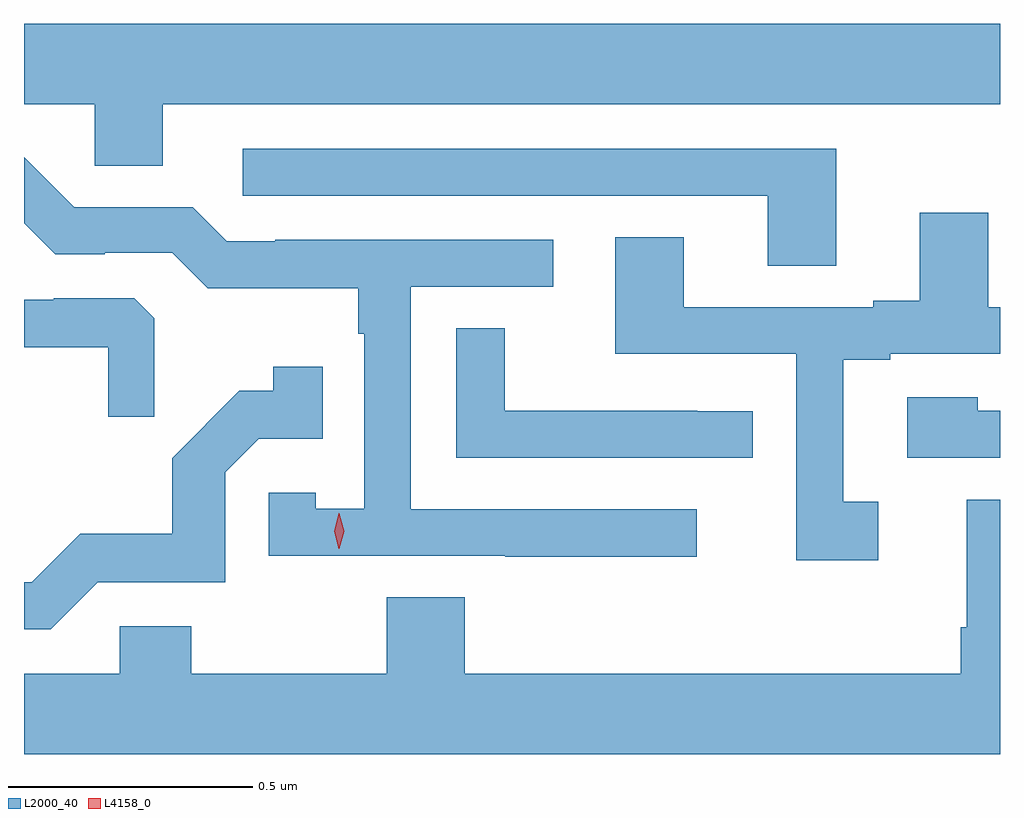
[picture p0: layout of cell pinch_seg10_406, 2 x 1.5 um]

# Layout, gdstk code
import gdstk
lib = gdstk.Library(unit=1e-6, precision=1e-09)
def P(c, l, *ps):  # polygons
    for p in ps: c.add(gdstk.Polygon(p, *l))
L2000_40 = (2000, 40)
L4158_0 = (4158, 0)

pinch_seg10_406 = lib.new_cell('pinch_seg10_406')
P(pinch_seg10_406, L2000_40, [(522.181,1273.676),(523.897,1273.676),(523.897,1273.84),(521.897,1273.84),(521.897,1273.676),(522.042,1273.676),(522.042,1273.549),(522.181,1273.549)],
  [(523.561,1273.584),(522.345,1273.584),(522.345,1273.488),(523.421,1273.488),(523.421,1273.345),(523.561,1273.345)],
  [(523.276,1272.846),(522.69,1272.846),(522.69,1273.302),(522.982,1273.302),(522.982,1273.398),(522.412,1273.398),(522.412,1273.395),(522.312,1273.395),(522.243,1273.464),(522,1273.464),(521.897,1273.567),(521.897,1273.432),(521.961,1273.368),(522.062,1273.368),(522.062,1273.371),(522.201,1273.371),(522.274,1273.298),(522.582,1273.298),(522.582,1273.205),(522.594,1273.205),(522.594,1272.847),(522.495,1272.847),(522.495,1272.879),(522.399,1272.879),(522.399,1272.75),(522.883,1272.75),(522.883,1272.748),(523.276,1272.748)],
  [(523.648,1272.861),(523.576,1272.861),(523.576,1273.152),(523.672,1273.152),(523.672,1273.164),(523.897,1273.164),(523.897,1273.26),(523.873,1273.26),(523.873,1273.453),(523.733,1273.453),(523.733,1273.273),(523.637,1273.273),(523.637,1273.26),(523.249,1273.26),(523.249,1273.403),(523.109,1273.403),(523.109,1273.164),(523.479,1273.164),(523.479,1272.741),(523.648,1272.741)],
  [(522.164,1273.237),(522.123,1273.278),(521.958,1273.278),(521.958,1273.275),(521.897,1273.275),(521.897,1273.178),(522.07,1273.178),(522.07,1273.035),(522.164,1273.035)],
  [(523.39,1273.046),(523.277,1273.046),(523.277,1273.047),(522.882,1273.047),(522.882,1273.217),(522.783,1273.217),(522.783,1272.951),(523.39,1272.951)],
  [(522.048,1272.696),(522.309,1272.696),(522.309,1272.921),(522.378,1272.99),(522.509,1272.99),(522.509,1273.138),(522.408,1273.138),(522.408,1273.088),(522.338,1273.088),(522.201,1272.95),(522.201,1272.795),(522.012,1272.795),(521.913,1272.696),(521.897,1272.696),(521.897,1272.6),(521.952,1272.6)],
  [(523.897,1273.047),(523.851,1273.047),(523.851,1273.075),(523.707,1273.075),(523.707,1272.951),(523.897,1272.951)],
  [(523.897,1272.865),(523.829,1272.865),(523.829,1272.604),(523.817,1272.604),(523.817,1272.508),(522.8,1272.508),(522.8,1272.665),(522.64,1272.665),(522.64,1272.508),(522.24,1272.508),(522.24,1272.606),(522.093,1272.606),(522.093,1272.508),(521.897,1272.508),(521.897,1272.344),(523.897,1272.344)])
P(pinch_seg10_406, L4158_0, [(522.542,1272.765),(522.533,1272.801),(522.542,1272.837),(522.543,1272.837),(522.543,1272.837),(522.553,1272.801),(522.543,1272.765),(522.543,1272.765)])

lib.write_gds('pinch_seg10_406.gds')
